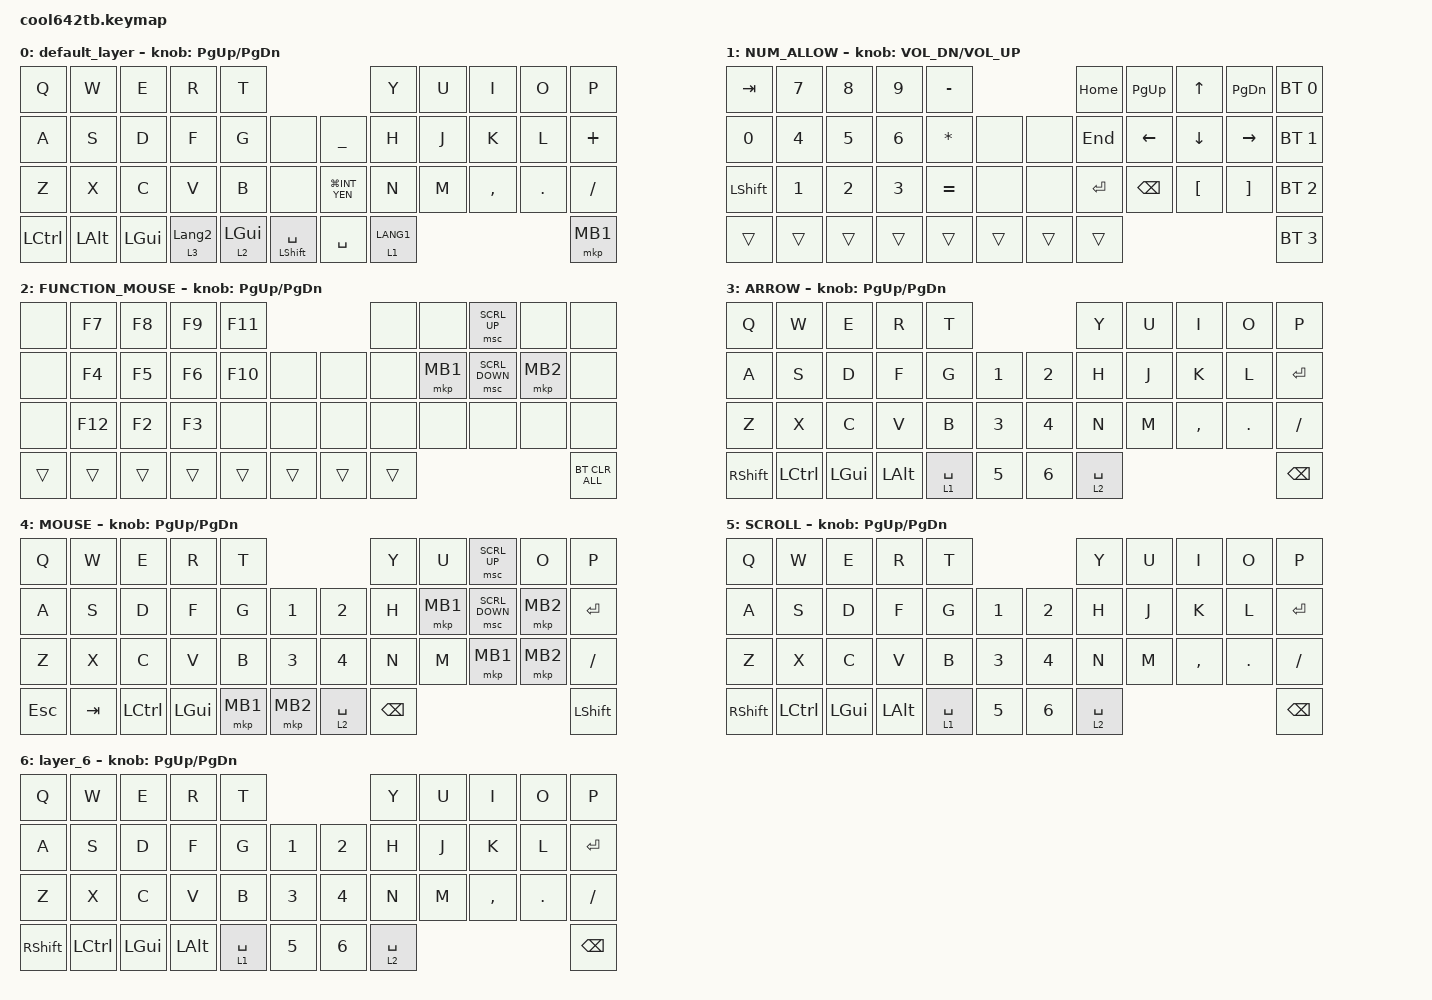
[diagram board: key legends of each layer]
#include <behaviors.dtsi>
#include <dt-bindings/zmk/bt.h>
#include <dt-bindings/zmk/keys.h>
#include <dt-bindings/zmk/pointing.h>

#define MOUSE 4
#define SCROLL 5
#define NUM 6

&mt {
    flavor = "balanced";
    quick-tap-ms = <0>;
};

/ {
    combos {
        compatible = "zmk,combos";

        comb1 {
            bindings = <&kp TAB>;
            key-positions = <11 10>;
        };

        comb2 {
            bindings = <&kp LS(ESCAPE)>;
            key-positions = <0 1>;
        };

        comb3 {
            bindings = <&kp CAPSLOCK>;
            key-positions = <22 23>;
        };

        comb4 {
            bindings = <&kp BACKSPACE>;
            key-positions = <9 8>;
        };

        comb5 {
            bindings = <&bt BT_CLR_ALL>;
            key-positions = <9 8>;
            timeout-ms = <0>;
            layers = <2>;
        };
    };

    macros {
        to_layer_0: to_layer_0 {
            compatible = "zmk,behavior-macro-one-param";
            #binding-cells = <1>;
            bindings = <&to 0 &macro_param_1to1 &kp MACRO_PLACEHOLDER>;
            label = "TO_LAYER_0";
        };
    };

    behaviors {
        lt_to_layer_0: lt_to_layer_0 {
            compatible = "zmk,behavior-hold-tap";
            label = "LAYER_TAP_TO_0";
            bindings = <&mo>, <&to_layer_0>;

            #binding-cells = <2>;
            tapping-term-ms = <200>;
        };
    };

    keymap {
        compatible = "zmk,keymap";

        default_layer {
            bindings = <
&kp Q             &kp W         &kp E         &kp R             &kp T                                                  &kp Y        &kp U  &kp I      &kp O       &kp P
&kp A             &kp S         &kp D         &kp F             &kp G           &none                 &kp UNDERSCORE   &kp H        &kp J  &kp K      &kp L       &kp PLUS
&kp Z             &kp X         &kp C         &kp V             &kp B           &none                 &kp LG(INT_YEN)  &kp N        &kp M  &kp COMMA  &kp PERIOD  &kp SLASH
&kp LEFT_CONTROL  &kp LEFT_ALT  &kp LEFT_GUI  &lt 3 LANGUAGE_2  &lt 2 LEFT_GUI  &mt LEFT_SHIFT SPACE  &kp SPACE        &lt 1 LANG1                                &mkp MB1
            >;

            sensor-bindings = <&inc_dec_kp PG_UP PAGE_DOWN>;
        };

        NUM_ALLOW {
            bindings = <
&kp TAB         &kp N7  &kp N8  &kp N9  &kp MINUS                     &kp HOME   &kp PAGE_UP     &kp UP_ARROW      &kp PAGE_DOWN      &bt BT_SEL 0
&kp N0          &kp N4  &kp N5  &kp N6  &kp ASTERISK  &none   &none   &kp END    &kp LEFT_ARROW  &kp DOWN_ARROW    &kp RIGHT_ARROW    &bt BT_SEL 1
&kp LEFT_SHIFT  &kp N1  &kp N2  &kp N3  &kp EQUAL     &none   &none   &kp ENTER  &kp BACKSPACE   &kp LEFT_BRACKET  &kp RIGHT_BRACKET  &bt BT_SEL 2
&trans          &trans  &trans  &trans  &trans        &trans  &trans  &trans                                                          &bt BT_SEL 3
            >;

            sensor-bindings = <&inc_dec_kp C_VOL_DN C_VOL_UP>;
        };

        FUNCTION_MOUSE {
            bindings = <
&none   &kp F7   &kp F8  &kp F9  &kp F11                  &none   &none     &msc SCRL_UP    &none     &none
&none   &kp F4   &kp F5  &kp F6  &kp F10  &none   &none   &none   &mkp MB1  &msc SCRL_DOWN  &mkp MB2  &none
&none   &kp F12  &kp F2  &kp F3  &none    &none   &none   &none   &none     &none           &none     &none
&trans  &trans   &trans  &trans  &trans   &trans  &trans  &trans                                      &bt BT_CLR_ALL
            >;

            sensor-bindings = <&inc_dec_kp PG_UP PAGE_DOWN>;
        };

        ARROW {
            bindings = <
&kp Q       &kp W      &kp E     &kp R     &kp T                        &kp Y        &kp U  &kp I      &kp O       &kp P
&kp A       &kp S      &kp D     &kp F     &kp G        &kp N1  &kp N2  &kp H        &kp J  &kp K      &kp L       &kp ENTER
&kp Z       &kp X      &kp C     &kp V     &kp B        &kp N3  &kp N4  &kp N        &kp M  &kp COMMA  &kp PERIOD  &kp SLASH
&kp RSHIFT  &kp LCTRL  &kp LGUI  &kp LALT  &lt 1 SPACE  &kp N5  &kp N6  &lt 2 SPACE                                &kp BSPC
            >;

            sensor-bindings = <&inc_dec_kp PG_UP PAGE_DOWN>;
        };

        MOUSE {
            bindings = <
&kp Q       &kp W    &kp E             &kp R         &kp T                            &kp Y          &kp U     &msc SCRL_UP    &kp O     &kp P
&kp A       &kp S    &kp D             &kp F         &kp G     &kp N1    &kp N2       &kp H          &mkp MB1  &msc SCRL_DOWN  &mkp MB2  &kp ENTER
&kp Z       &kp X    &kp C             &kp V         &kp B     &kp N3    &kp N4       &kp N          &kp M     &mkp MB1        &mkp MB2  &kp SLASH
&kp ESCAPE  &kp TAB  &kp LEFT_CONTROL  &kp LEFT_GUI  &mkp MB1  &mkp MB2  &lt 2 SPACE  &kp BACKSPACE                                      &kp LEFT_SHIFT
            >;

            sensor-bindings = <&inc_dec_kp PG_UP PAGE_DOWN>;
        };

        SCROLL {
            bindings = <
&kp Q       &kp W      &kp E     &kp R     &kp T                        &kp Y        &kp U  &kp I      &kp O       &kp P
&kp A       &kp S      &kp D     &kp F     &kp G        &kp N1  &kp N2  &kp H        &kp J  &kp K      &kp L       &kp ENTER
&kp Z       &kp X      &kp C     &kp V     &kp B        &kp N3  &kp N4  &kp N        &kp M  &kp COMMA  &kp PERIOD  &kp SLASH
&kp RSHIFT  &kp LCTRL  &kp LGUI  &kp LALT  &lt 1 SPACE  &kp N5  &kp N6  &lt 2 SPACE                                &kp BSPC
            >;

            sensor-bindings = <&inc_dec_kp PG_UP PAGE_DOWN>;
        };

        layer_6 {
            bindings = <
&kp Q       &kp W      &kp E     &kp R     &kp T                        &kp Y        &kp U  &kp I      &kp O       &kp P
&kp A       &kp S      &kp D     &kp F     &kp G        &kp N1  &kp N2  &kp H        &kp J  &kp K      &kp L       &kp ENTER
&kp Z       &kp X      &kp C     &kp V     &kp B        &kp N3  &kp N4  &kp N        &kp M  &kp COMMA  &kp PERIOD  &kp SLASH
&kp RSHIFT  &kp LCTRL  &kp LGUI  &kp LALT  &lt 1 SPACE  &kp N5  &kp N6  &lt 2 SPACE                                &kp BSPC
            >;

            sensor-bindings = <&inc_dec_kp PG_UP PAGE_DOWN>;
        };
    };
};
